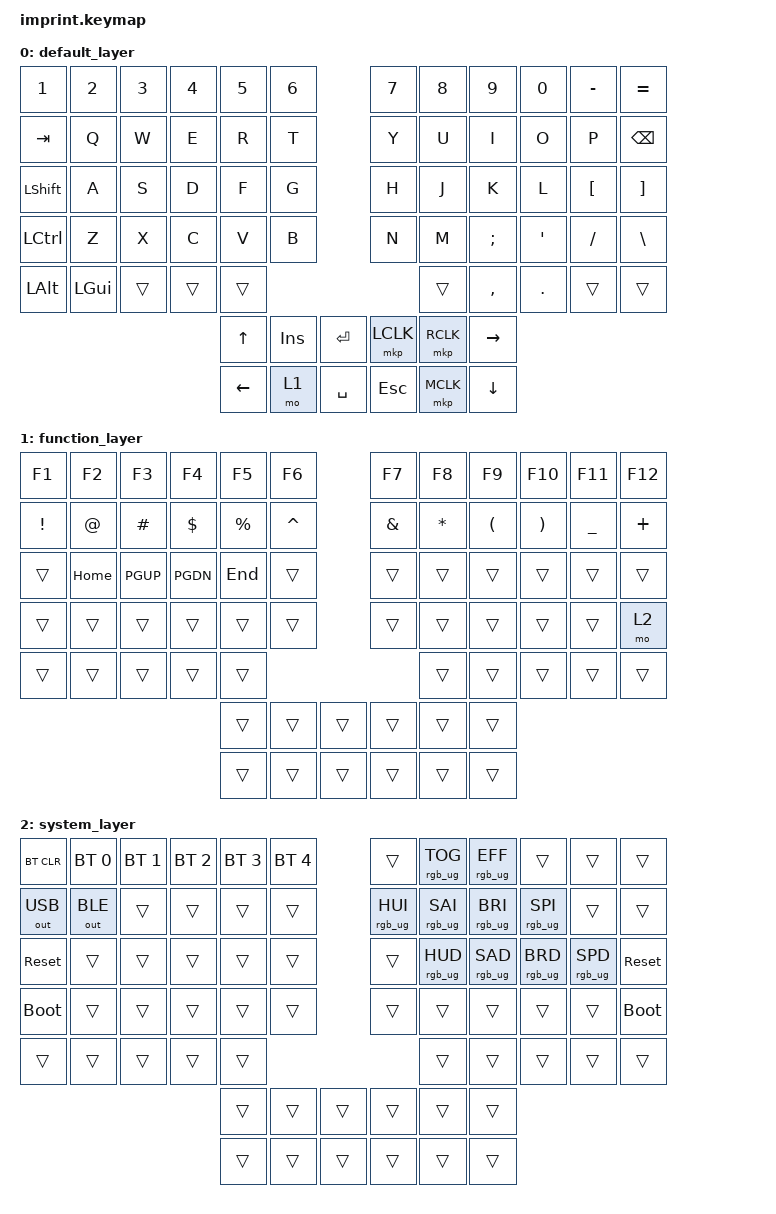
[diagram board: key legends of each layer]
#include <input/processors.dtsi>
#include <dt-bindings/zmk/input_transform.h>
#include <behaviors.dtsi>
#include <dt-bindings/zmk/bt.h>
#include <dt-bindings/zmk/keys.h>
#include <dt-bindings/zmk/outputs.h>
#include <dt-bindings/zmk/pointing.h>
#include <dt-bindings/zmk/rgb.h>

/ {
    chosen { zmk,matrix-transform = &imprint_function_row_full_bottom_row; };

    keymap {
        compatible = "zmk,keymap";

        default_layer {
            bindings = <
&kp N1     &kp N2   &kp N3    &kp N4    &kp N5    &kp N6              &kp N7     &kp N8    &kp N9     &kp N0    &kp MINUS &kp EQUAL
&kp TAB    &kp Q    &kp W     &kp E     &kp R     &kp T               &kp Y      &kp U     &kp I      &kp O     &kp P     &kp BSPC
&kp LSHFT  &kp A    &kp S     &kp D     &kp F     &kp G               &kp H      &kp J     &kp K      &kp L     &kp LBKT  &kp RBKT
&kp LCTRL  &kp Z    &kp X     &kp C     &kp V     &kp B               &kp N      &kp M     &kp SEMI   &kp SQT   &kp FSLH  &kp BSLH
&kp LALT   &kp LGUI &trans    &trans    &trans                                   &trans    &kp COMMA  &kp DOT   &trans    &trans
                                       &kp UP    &kp INS  &kp RET     &mkp LCLK  &mkp RCLK &kp RIGHT
                                       &kp LEFT  &mo 1    &kp SPACE   &kp ESC    &mkp MCLK &kp DOWN
            >;
        };

        function_layer {
            bindings = <
&kp F1     &kp F2   &kp F3    &kp F4    &kp F5    &kp F6              &kp F7     &kp F8    &kp F9     &kp F10   &kp F11   &kp F12
&kp EXCL   &kp AT   &kp HASH  &kp DLLR  &kp PRCNT &kp CARET           &kp AMPS   &kp STAR  &kp LPAR   &kp RPAR  &kp UNDER &kp PLUS
&trans     &kp HOME &kp PGUP  &kp PGDN  &kp END   &trans              &trans     &trans    &trans     &trans    &trans    &trans
&trans     &trans   &trans    &trans    &trans    &trans              &trans     &trans    &trans     &trans    &trans    &mo 2
&trans     &trans   &trans    &trans    &trans                                   &trans    &trans     &trans    &trans    &trans
                                       &trans    &trans   &trans      &trans     &trans    &trans
                                       &trans    &trans   &trans      &trans     &trans    &trans
            >;
        };

        system_layer {
            bindings = <
&bt BT_CLR &bt BT_SEL 0 &bt BT_SEL 1 &bt BT_SEL 2 &bt BT_SEL 3 &bt BT_SEL 4     &trans &rgb_ug RGB_TOG &rgb_ug RGB_EFF &trans &trans &trans
&out OUT_USB &out OUT_BLE &trans &trans &trans &trans                            &rgb_ug RGB_HUI &rgb_ug RGB_SAI &rgb_ug RGB_BRI &rgb_ug RGB_SPI &trans &trans
&sys_reset &trans &trans &trans &trans &trans                                    &trans &rgb_ug RGB_HUD &rgb_ug RGB_SAD &rgb_ug RGB_BRD &rgb_ug RGB_SPD &sys_reset
&bootloader &trans &trans &trans &trans &trans                                   &trans &trans &trans &trans &trans &bootloader
&trans &trans &trans &trans &trans                                               &trans &trans &trans &trans &trans
                                       &trans    &trans   &trans      &trans     &trans    &trans
                                       &trans    &trans   &trans      &trans     &trans    &trans
            >;
        };
    };
};
